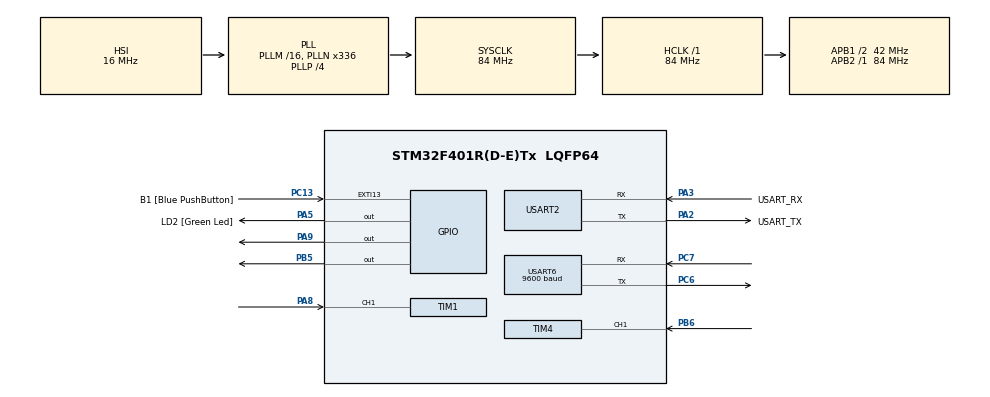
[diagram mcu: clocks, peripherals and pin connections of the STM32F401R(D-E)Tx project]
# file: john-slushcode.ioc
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Dma.Request0=USART6_RX
Dma.USART6_RX.0.Direction=DMA_PERIPH_TO_MEMORY
Dma.USART6_RX.0.FIFOMode=DMA_FIFOMODE_DISABLE
Dma.USART6_RX.0.Instance=DMA2_Stream1
Dma.USART6_RX.0.MemDataAlignment=DMA_MDATAALIGN_BYTE
Dma.USART6_RX.0.MemInc=DMA_MINC_ENABLE
Dma.USART6_RX.0.Mode=DMA_CIRCULAR
Dma.USART6_RX.0.PeriphDataAlignment=DMA_PDATAALIGN_BYTE
Dma.USART6_RX.0.PeriphInc=DMA_PINC_DISABLE
Dma.USART6_RX.0.Priority=DMA_PRIORITY_LOW
Mcu.Family=STM32F4
Mcu.Name=STM32F401R(D-E)Tx
Mcu.Package=LQFP64
NVIC.DMA2_Stream1_IRQn=true\:0\:0\:false\:false\:true\:false\:true\:true
NVIC.PriorityGroup=NVIC_PRIORITYGROUP_4
NVIC.TIM1_BRK_TIM9_IRQn=true\:0\:0\:false\:false\:true\:true\:true\:true
NVIC.TIM1_CC_IRQn=true\:0\:0\:false\:false\:true\:true\:true\:true
NVIC.TIM1_TRG_COM_TIM11_IRQn=true\:0\:0\:false\:false\:true\:true\:true\:true
NVIC.TIM1_UP_TIM10_IRQn=true\:0\:0\:false\:false\:true\:true\:true\:true
NVIC.TIM4_IRQn=true\:0\:0\:false\:false\:true\:true\:true\:true
NVIC.USART6_IRQn=true\:0\:0\:false\:false\:true\:true\:true\:true
PA13.GPIO_Label=TMS
PA13.Mode=Trace_Asynchronous_SW
PA13.Signal=SYS_JTMS-SWDIO
PA14.GPIO_Label=TCK
PA14.Mode=Trace_Asynchronous_SW
PA14.Signal=SYS_JTCK-SWCLK
PA2.GPIO_Label=USART_TX
PA2.GPIO_Mode=GPIO_MODE_AF_PP
PA2.GPIO_PuPd=GPIO_NOPULL
PA2.GPIO_Speed=GPIO_SPEED_FREQ_LOW
PA2.Mode=Asynchronous
PA2.Signal=USART2_TX
PA3.GPIO_Label=USART_RX
PA3.GPIO_Mode=GPIO_MODE_AF_PP
PA3.GPIO_PuPd=GPIO_NOPULL
PA3.GPIO_Speed=GPIO_SPEED_FREQ_LOW
PA3.Mode=Asynchronous
PA3.Signal=USART2_RX
PA5.GPIO_Label=LD2 [Green Led]
PA5.GPIO_Mode=GPIO_MODE_OUTPUT_PP
PA5.GPIO_PuPd=GPIO_NOPULL
PA5.GPIO_Speed=GPIO_SPEED_FREQ_LOW
PA5.Signal=GPIO_Output
PA8.Signal=S_TIM1_CH1
PA9.Signal=GPIO_Output
PB3.GPIO_Label=SWO
PB3.Mode=Trace_Asynchronous_SW
PB3.Signal=SYS_JTDO-SWO
PB5.Signal=GPIO_Output
PB6.Signal=S_TIM4_CH1
PC13-ANTI_TAMP.GPIO_Label=B1 [Blue PushButton]
PC13-ANTI_TAMP.GPIO_ModeDefaultEXTI=GPIO_MODE_IT_FALLING
PC13-ANTI_TAMP.GPIO_PuPd=GPIO_NOPULL
PC13-ANTI_TAMP.Signal=GPXTI13
PC14-OSC32_IN.Mode=LSE-External-Oscillator
PC14-OSC32_IN.Signal=RCC_OSC32_IN
PC15-OSC32_OUT.Mode=LSE-External-Oscillator
PC15-OSC32_OUT.Signal=RCC_OSC32_OUT
PC6.Mode=Asynchronous
PC6.Signal=USART6_TX
PC7.Mode=Asynchronous
PC7.Signal=USART6_RX
PH0\ -\ OSC_IN.Mode=HSE-External-Clock-Source
PH0\ -\ OSC_IN.Signal=RCC_OSC_IN
PH1\ -\ OSC_OUT.Mode=HSE-External-Clock-Source
PH1\ -\ OSC_OUT.Signal=RCC_OSC_OUT
ProjectManager.HeapSize=0x200
ProjectManager.StackSize=0x400
ProjectManager.TargetToolchain=STM32CubeIDE
RCC.48MHZClocksFreq_Value=48000000
RCC.AHBFreq_Value=84000000
RCC.APB1CLKDivider=RCC_HCLK_DIV2
RCC.APB1Freq_Value=42000000
RCC.APB1TimFreq_Value=84000000
RCC.APB2Freq_Value=84000000
RCC.APB2TimFreq_Value=84000000
RCC.CortexFreq_Value=84000000
RCC.HCLKFreq_Value=84000000
RCC.HSE_VALUE=8000000
RCC.HSI_VALUE=16000000
RCC.PLLN=336
RCC.PLLP=RCC_PLLP_DIV4
RCC.PLLQ=7
RCC.SYSCLKFreq_VALUE=84000000
RCC.SYSCLKSource=RCC_SYSCLKSOURCE_PLLCLK
RCC.VCOOutputFreq_Value=336000000
SH.S_TIM1_CH1.0=TIM1_CH1,Input_Capture1_from_TI1
SH.S_TIM4_CH1.0=TIM4_CH1,Input_Capture1_from_TI1
TIM1.Channel-Input_Capture1_from_TI1=TIM_CHANNEL_1
TIM1.Prescaler=72
TIM4.Channel-Input_Capture1_from_TI1=TIM_CHANNEL_1
TIM4.Prescaler=72
USART2.VirtualMode=VM_ASYNC
USART6.BaudRate=9600
USART6.VirtualMode=VM_ASYNC
VP_RTC_VS_RTC_Activate.Mode=RTC_Enabled
VP_TIM1_VS_ClockSourceINT.Mode=Internal
VP_TIM4_VS_ClockSourceINT.Mode=Internal
board=NUCLEO-F401RE

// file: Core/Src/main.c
/* USER CODE BEGIN Header */
/**
  ******************************************************************************
  * @file           : main.c
  * @brief          : Main program body
  ******************************************************************************
  * @attention
  *
  * Copyright (c) 2025 STMicroelectronics.
  * All rights reserved.
  *
  * This software is licensed under terms that can be found in the LICENSE file
  * in the root directory of this software component.
  * If no LICENSE file comes with this software, it is provided AS-IS.
  *
  ******************************************************************************
  */
/* USER CODE END Header */
#include "main.h"

/* USER CODE BEGIN Includes */
#include "sr04.h"
#include "m8q.h"
#include <stdio.h>
#include <stdarg.h>
#include <string.h>
#include <stdlib.h>
#include <math.h>
/* USER CODE END Includes */

/* USER CODE BEGIN PTD */
typedef enum {
    GPS_STATUS_INIT,
    GPS_STATUS_OK,
    GPS_STATUS_ERROR,
    GPS_STATUS_NO_FIX
} GPS_Status;
/* USER CODE END PTD */

RTC_HandleTypeDef hrtc;

TIM_HandleTypeDef htim1;
TIM_HandleTypeDef htim4;

UART_HandleTypeDef huart2;
UART_HandleTypeDef huart6;
DMA_HandleTypeDef hdma_usart6_rx;

/* USER CODE BEGIN PV */
sr04_t sr04;
sr04_t sr04_tim4;
GPS_Data gps_data;

// DMA buffer for UART reception
#define UART_RX_BUFFER_SIZE 512
uint8_t uartRxBuffer[UART_RX_BUFFER_SIZE];
volatile uint16_t rxHead = 0;
volatile uint16_t searchPos = 0;
/* USER CODE END PV */

void SystemClock_Config(void);
static void MX_GPIO_Init(void);
static void MX_DMA_Init(void);
static void MX_USART2_UART_Init(void);
static void MX_RTC_Init(void);
static void MX_TIM1_Init(void);
static void MX_TIM4_Init(void);
static void MX_USART6_UART_Init(void);

/* USER CODE BEGIN 0 */
void printToConsole(const char *format, ...) {
    char buffer[256];
    va_list args;
    va_start(args, format);
    vsnprintf(buffer, sizeof(buffer), format, args);
    va_end(args);

    HAL_UART_Transmit(&huart2, (uint8_t *)buffer, strlen(buffer), HAL_MAX_DELAY);
}

void decodeNMEASentence(const char *sentence) {
    char buffer[128];
    strncpy(buffer, sentence, sizeof(buffer));
    buffer[sizeof(buffer)-1] = '\0';

    char *token = strtok(buffer, ",");
    int fieldIndex = 0;

    while (token != NULL) {
        printToConsole("Field %d: %s\r\n", fieldIndex, token);
        token = strtok(NULL, ",");
        fieldIndex++;
    }
}

bool readUntilNewline(char *buffer, size_t maxSize) {
    uint32_t startTick = HAL_GetTick();
    uint32_t idx = 0;
    char ch;
    bool startFound = false;

    // Clear buffer first
    memset(buffer, 0, maxSize);

    while (idx < (maxSize - 1)) {
        // Check for timeout - 2 seconds should be enough for one complete sentence
        if ((HAL_GetTick() - startTick) > 2000) {
            if (idx > 0) {
                printToConsole("Timeout waiting for complete sentence after %d chars\r\n", idx);
            }
            break;
        }

        HAL_StatusTypeDef status = HAL_UART_Receive(&huart6, (uint8_t*)&ch, 1, 100);

        if (status == HAL_OK) {
            // Debug - uncomment if needed
            // printToConsole("%c", ch);

            // If we find the start character ($), reset buffer and start collecting
            if (ch == '$') {
                startFound = true;
                idx = 0;
                buffer[idx++] = ch;
                continue;
            }

            // Only add characters if we've found the start
            if (startFound) {
                buffer[idx++] = ch;

                // Check for complete NMEA sentence: CR+LF ending
                if (idx >= 2 && ch == '\n' && buffer[idx-2] == '\r') {
                    buffer[idx] = '\0';
                    return true;
                }

                // Alternative check: we found a complete sentence with checksum
                // Some devices might not properly terminate with CR+LF
                if (idx >= 5 && buffer[idx-3] == '*') {  // Found checksum marker
                    // Allow 2 more chars for the checksum itself
                    if (idx >= (uint32_t)(buffer[idx-3] + 3)) {
                        // Check if next char is CR or LF - if so, we're done
                        status = HAL_UART_Receive(&huart6, (uint8_t*)&ch, 1, 10);
                        if (status == HAL_OK) {
                            if (ch == '\r' || ch == '\n') {
                                buffer[idx++] = ch;
                                // Get the matching LF if we found CR
                                if (ch == '\r') {
                                    status = HAL_UART_Receive(&huart6, (uint8_t*)&ch, 1, 10);
                                    if (status == HAL_OK && ch == '\n') {
                                        buffer[idx++] = ch;
                                    }
                                }
                                buffer[idx] = '\0';
                                return true;
                            } else {
                                // Not CR/LF, add to buffer and continue
                                buffer[idx++] = ch;
                            }
                        } else {
                            // No more data but we have a complete sentence with checksum
                            buffer[idx] = '\0';
                            return true;
                        }
                    }
                }
            }
        } else if (status == HAL_TIMEOUT && startFound && idx > 5) {
            // We've started a sentence and got something meaningful
            buffer[idx] = '\0';
            return true;
        }
    }

    // If we've collected a valid-looking sentence but hit the buffer limit
    if (startFound && idx > 0) {
        buffer[idx] = '\0';
        return true;
    }

    buffer[0] = '\0';
    return false;
}

GPS_Status parseGPSTXT(const char* message) {
    if (strstr(message, "ANTSTATUS=INIT")) {
        return GPS_STATUS_INIT;
    } else if (strstr(message, "ANTSTATUS=OK")) {
        return GPS_STATUS_OK;
    } else if (strstr(message, "ANTSTATUS=SHORT") ||
               strstr(message, "ANTSTATUS=OPEN")) {
        return GPS_STATUS_ERROR;
    }
    return GPS_STATUS_NO_FIX;
}

bool printCurrentGpsOutput(void) {
    char buffer[256];
    static GPS_Status lastStatus = GPS_STATUS_INIT;
    static uint32_t noFixCount = 0;
    static uint32_t lastDebugPrint = 0;
    const uint32_t DEBUG_PRINT_INTERVAL = 1000; // Print debug every 1 second

    memset(buffer, 0, sizeof(buffer));
    memset(&gps_data, 0, sizeof(GPS_Data));

    if (readUntilNewline(buffer, sizeof(buffer))) {
        // Debug message with timestamp
        uint32_t currentTick = HAL_GetTick();
        if (currentTick - lastDebugPrint >= DEBUG_PRINT_INTERVAL) {
            printToConsole("\r\n=== GPS Debug [%lu ms] ===\r\n", currentTick);
            lastDebugPrint = currentTick;
        }

        // Validate NMEA message format
        if (buffer[0] != '$') {
            printToConsole("ERROR: Invalid NMEA format\r\n");
            return false;
        }

        // Test buffer
        // const char* buffer = "$GNRMC,201850.00,A,4025.69979,N,08654.69118,W,0.256,,240225,08654.69118,W,0.256,,240225,,,A*73";

        // Parse message type
        if (strstr(buffer, "$GNRMC")) {
            printToConsole("Message Type: RMC (Position/Speed/Time)\r\n");

            if (M8Q_ParseGNRMC(buffer, &gps_data)) {
                if (!gps_data.fix_valid) {
                    noFixCount++;
                    printToConsole("Status: NO FIX (Waiting: %lu sec)\r\n", noFixCount);
                    printToConsole("Time: %02d:%02d:%02d UTC\r\n",
                        gps_data.hours,
                        gps_data.minutes,
                        gps_data.seconds);
                    printToConsole("Troubleshooting:\r\n");
                    printToConsole("- Ensure clear view of sky\r\n");
                    printToConsole("- Wait for satellite acquisition (can take 1-5 min)\r\n");
                    printToConsole("- Check antenna connection\r\n");
                } else {
                    noFixCount = 0;
                    printToConsole("\r\n=== GPS Location Update ===\r\n");
                    printToConsole("Time: %02d:%02d:%02d UTC\r\n",
                        gps_data.hours,
                        gps_data.minutes,
                        gps_data.seconds);

                    printToConsole("Date: %02d/%02d/%04d\r\n",
                        gps_data.day,
                        gps_data.month,
                        gps_data.year);

                    // Convert coordinates to degrees and decimal minutes format
                    int lat_deg = (int)gps_data.latitude;
                    double lat_min = (gps_data.latitude - lat_deg) * 60;
                    int lon_deg = (int)gps_data.longitude;
                    double lon_min = (gps_data.longitude - lon_deg) * 60;

                    printToConsole("Position:\r\n");
                    printToConsole("  %d°%.4f' %c\r\n",
                        abs(lat_deg), fabs(lat_min), gps_data.lat_direction);
                    printToConsole("  %d°%.4f' %c\r\n",
                        abs(lon_deg), fabs(lon_min), gps_data.lon_direction);

                    if (gps_data.speed_knots > 0.5) { // Only show speed if moving
                        printToConsole("Speed: %.1f km/h\r\n",
                            gps_data.speed_knots * 1.852); // Convert knots to km/h
                        printToConsole("Heading: %.1f°\r\n",
                            gps_data.course);
                    }

                    printToConsole("=========================\r\n");
                }
            } else {
                printToConsole("ERROR: Failed to parse RMC message\r\n");
                printToConsole("Raw: %s\r\n", buffer);
            }
            return true;
        }
        else if (strstr(buffer, "$GNGGA")) {
            printToConsole("Message Type: GGA (GPS Fix Data)\r\n");

            // Parse GGA message fields
            char *saveptr;
            char *token = strtok_r(buffer, ",", &saveptr);
            int field = 0;

            while (token != NULL) {
                switch(field) {
                    case 6: // Fix quality
                        printToConsole("Fix Quality: ");
                        switch(atoi(token)) {
                            case 0: printToConsole("Invalid\r\n"); break;
                            case 1: printToConsole("GPS Fix\r\n"); break;
                            case 2: printToConsole("DGPS Fix\r\n"); break;
                            default: printToConsole("Unknown (%s)\r\n", token); break;
                        }
                        break;
                    case 7: // Satellites in use
                        printToConsole("Satellites: %s in use\r\n", token);
                        break;
                    case 8: // HDOP
                        {
                            float hdop = atof(token);
                            printToConsole("HDOP: %.1f ", hdop);
                            if (hdop < 1.0) printToConsole("(Excellent)\r\n");
                            else if (hdop < 2.0) printToConsole("(Good)\r\n");
                            else if (hdop < 5.0) printToConsole("(Moderate)\r\n");
                            else printToConsole("(Poor)\r\n");
                        }
                        break;
                }
                field++;
                token = strtok_r(NULL, ",", &saveptr);
            }
            return true;
        }
        else if (strstr(buffer, "$GNTXT")) {
            GPS_Status status = parseGPSTXT(buffer);
            if (status != lastStatus) {
                switch(status) {
                    case GPS_STATUS_INIT:
                        printToConsole("GPS Status: Initializing antenna\r\n");
                        break;
                    case GPS_STATUS_OK:
                        printToConsole("GPS Status: Antenna OK, waiting for fix\r\n");
                        break;
                    case GPS_STATUS_ERROR:
                        printToConsole("GPS Status: Antenna error detected!\r\n");
                        break;
                    default:
                        break;
                }
                lastStatus = status;
            }
            printToConsole("GPS Info Message: %s", buffer);
            return true;
        }
        else {
            printToConsole("Message Type: Other (%.*s)\r\n", 5, buffer);
            return true;
        }
    } else {
        printToConsole("ERROR: Failed to read NMEA sentence\r\n");
        return false;
    }
}

// void sendUBXCommand(const char* cmd, size_t len) {
//     HAL_UART_Transmit(&huart6, (uint8_t*)cmd, len, 1000);
//     HAL_Delay(100); // Wait for command to process
// }

// void initGPS(void) {
//   return;
//     printToConsole("Initializing GPS...\r\n");

//     // First, flush any pending data
//     HAL_Delay(100);
//     uint8_t dummy;
//     int flushed = 0;
//     while (HAL_UART_Receive(&huart6, &dummy, 1, 1) == HAL_OK) {
//         flushed++;
//     }
//     printToConsole("Flushed %d bytes\r\n", flushed);

//     // Reset to factory defaults
//     const char reset[] = "$PUBX,41,1,0007,0003,9600,0*10\r\n";
//     sendUBXCommand(reset, strlen(reset));
//     HAL_Delay(1000);

//     // Try to read any response
//     char buffer[128];
//     if (readUntilNewline(buffer, sizeof(buffer))) {
//         printToConsole("Reset response: %s\r\n", buffer);
//     } else {
//         printToConsole("No response to reset command\r\n");
//     }

//     // Disable all NMEA messages first
//     const char disableAll[] = "$PUBX,40,GLL,0,0,0,0,0,0*5C\r\n"
//                              "$PUBX,40,GSA,0,0,0,0,0,0*4E\r\n"
//                              "$PUBX,40,GSV,0,0,0,0,0,0*59\r\n"
//                              "$PUBX,40,VTG,0,0,0,0,0,0*5E\r\n";
//     sendUBXCommand(disableAll, strlen(disableAll));
//     HAL_Delay(500);

//     // Enable only the messages we want
//     const char enableRMC[] = "$PUBX,40,RMC,0,1,0,0,0,0*46\r\n";
//     sendUBXCommand(enableRMC, strlen(enableRMC));
//     HAL_Delay(100);

//     const char enableGGA[] = "$PUBX,40,GGA,0,1,0,0,0,0*5B\r\n";
//     sendUBXCommand(enableGGA, strlen(enableGGA));
//     HAL_Delay(100);

//     // Enable GSV messages to see satellite info
//     const char enableGSV[] = "$PUBX,40,GSV,0,1,0,0,0,0*59\r\n";
//     sendUBXCommand(enableGSV, strlen(enableGSV));
//     HAL_Delay(100);

//     // Configure update rate to 1Hz for stability
//     const char setRate[] = "$PUBX,40,ZDA,0,1,0,0,0,0*44\r\n";
//     sendUBXCommand(setRate, strlen(setRate));
//     HAL_Delay(100);

//     printToConsole("GPS Initialization complete\r\n");
//     HAL_Delay(1000);  // Give it time to start sending data
// }

// Function to extract NMEA sentences from DMA buffer
bool getNMEASentence(char *buffer, size_t maxSize) {
    uint16_t startPos = UINT16_MAX;
    uint16_t endPos = UINT16_MAX;
    uint16_t currentHead = rxHead; // Capture current position
    uint16_t pos = searchPos;
    uint16_t searchEndPos = (currentHead >= searchPos) ? currentHead : (currentHead + UART_RX_BUFFER_SIZE);

    // Search for complete NMEA sentence
    while (pos < searchEndPos) {
        uint16_t bufferPos = pos % UART_RX_BUFFER_SIZE;

        // Look for sentence start
        if (uartRxBuffer[bufferPos] == '$' && startPos == UINT16_MAX) {
            startPos = bufferPos;
        }
        // Look for sentence end (CR+LF or just LF)
        else if (startPos != UINT16_MAX && uartRxBuffer[bufferPos] == '\n') {
            endPos = bufferPos;
            break;
        }
        pos++;
    }

    // If complete sentence found
    if (startPos != UINT16_MAX && endPos != UINT16_MAX) {
        uint16_t length = 0;
        pos = startPos;

        // Calculate sentence length accounting for buffer wrap
        uint16_t sentenceLength = (endPos >= startPos) ?
            (endPos - startPos + 1) :
            (UART_RX_BUFFER_SIZE - startPos + endPos + 1);

        // Check if sentence fits in output buffer
        if (sentenceLength >= maxSize) {
            searchPos = (endPos + 1) % UART_RX_BUFFER_SIZE;
            return false;
        }

        // Copy sentence to output buffer
        while (length < sentenceLength && length < maxSize - 1) {
            buffer[length++] = uartRxBuffer[pos];
            pos = (pos + 1) % UART_RX_BUFFER_SIZE;
        }

        buffer[length] = '\0';
        searchPos = (endPos + 1) % UART_RX_BUFFER_SIZE;

        // Validate basic NMEA format
        if (length > 6 && buffer[0] == '$' &&
            (buffer[length-2] == '\r' || buffer[length-1] == '\n')) {
            return true;
        }
    }

    // If we've searched the entire new data without finding a sentence,
    // move search position to avoid re-searching
    if (pos >= searchEndPos) {
        searchPos = currentHead;
    }

    return false;
}

// UART reception complete callback
void HAL_UARTEx_RxEventCallback(UART_HandleTypeDef *huart, uint16_t Size) {
    if (huart->Instance == USART6) {
        rxHead = (rxHead + Size) % UART_RX_BUFFER_SIZE;

        // Restart DMA reception
        HAL_UARTEx_ReceiveToIdle_DMA(&huart6, uartRxBuffer, UART_RX_BUFFER_SIZE);
        __HAL_DMA_DISABLE_IT(huart6.hdmarx, DMA_IT_HT); // Disable Half Transfer interrupt
    }
}

/* USER CODE END 0 */

int main(void)
{

  /* MCU Configuration--------------------------------------------------------*/

  /* Reset of all peripherals, Initializes the Flash interface and the Systick. */
  HAL_Init();

  /* Configure the system clock */
  SystemClock_Config();

  /* Initialize all configured peripherals */
  MX_GPIO_Init();
  MX_DMA_Init();
  MX_USART2_UART_Init();
  MX_RTC_Init();
  MX_TIM1_Init();
  MX_TIM4_Init();
  MX_USART6_UART_Init();
  /* USER CODE BEGIN 2 */

  // Initialize GPS
  //initGPS();

  // Initialize DMA for UART6 reception
  HAL_UARTEx_ReceiveToIdle_DMA(&huart6, uartRxBuffer, UART_RX_BUFFER_SIZE);
  __HAL_DMA_DISABLE_IT(huart6.hdmarx, DMA_IT_HT); // Disable Half Transfer interrupt

  /* USER CODE END 2 */

  /* Infinite loop */
  while (1)
  {

    /* USER CODE BEGIN 3 */
    // Process GPS NMEA sentences from DMA buffer
    char nmeaBuffer[256];
    if (getNMEASentence(nmeaBuffer, sizeof(nmeaBuffer))) {
        // Debug raw NMEA sentence
        printToConsole("\r\n--- Raw NMEA Sentence ---\r\n");
        printToConsole("Length: %d bytes\r\n", strlen(nmeaBuffer));
        printToConsole("Content: %s", nmeaBuffer);

        if (strstr(nmeaBuffer, "$GNRMC")) {
            printToConsole("\r\n=== GNRMC Message Detected ===\r\n");

            // Debug each field before parsing
            char *saveptr;
            char *token = strtok_r(nmeaBuffer, ",", &saveptr);
            int fieldIndex = 0;

            while (token != NULL) {
                switch(fieldIndex) {
                    case 0: printToConsole("Message ID: %s\r\n", token); break;
                    case 1: printToConsole("UTC Time: %s\r\n", token); break;
                    case 2: printToConsole("Status: %s (%s)\r\n", token,
                            (token[0] == 'A') ? "Active" : "Void"); break;
                    case 3: printToConsole("Latitude: %s\r\n", token); break;
                    case 4: printToConsole("N/S Indicator: %s\r\n", token); break;
                    case 5: printToConsole("Longitude: %s\r\n", token); break;
                    case 6: printToConsole("E/W Indicator: %s\r\n", token); break;
                    case 7: printToConsole("Speed (knots): %s\r\n", token); break;
                    case 8: printToConsole("Course: %s\r\n", token); break;
                    case 9: printToConsole("Date: %s\r\n", token); break;
                    default: printToConsole("Field %d: %s\r\n", fieldIndex, token);
                }
                token = strtok_r(NULL, ",", &saveptr);
                fieldIndex++;
            }

            printToConsole("Total fields: %d (expecting 12-13)\r\n", fieldIndex);

            // Try to parse with M8Q_ParseGNRMC
            if (M8Q_ParseGNRMC(nmeaBuffer, &gps_data)) {
                printToConsole("\r\nParsing Successful!\r\n");
                printToConsole("Time: %02d:%02d:%02d UTC\r\n",
                    gps_data.hours, gps_data.minutes, gps_data.seconds);
                printToConsole("Fix Valid: %s\r\n",
                    gps_data.fix_valid ? "Yes" : "No");
                printToConsole("Position: %.6f%c, %.6f%c\r\n",
                    gps_data.latitude, gps_data.lat_direction,
                    gps_data.longitude, gps_data.lon_direction);
                if (gps_data.speed_knots > 0) {
                    printToConsole("Speed: %.2f knots\r\n", gps_data.speed_knots);
                    printToConsole("Course: %.2f degrees\r\n", gps_data.course);
                }
            } else {
                printToConsole("\r\nParsing Failed!\r\n");
                printToConsole("Checksum validation: %s\r\n",
                    (strchr(nmeaBuffer, '*') != NULL) ? "Present" : "Missing");
            }
            printToConsole("=========================\r\n");
        }
        else if (strstr(nmeaBuffer, "$GNGGA")) {
            printToConsole("Message Type: GGA (GPS Fix Data)\r\n");

            // Parse GGA message fields
            char *saveptr;
            char *token = strtok_r(nmeaBuffer, ",", &saveptr);
            int field = 0;

            while (token != NULL) {
                switch(field) {
                    case 6: // Fix quality
                        printToConsole("Fix Quality: ");
                        switch(atoi(token)) {
                            case 0: printToConsole("Invalid\r\n"); break;
                            case 1: printToConsole("GPS Fix\r\n"); break;
                            case 2: printToConsole("DGPS Fix\r\n"); break;
                            default: printToConsole("Unknown (%s)\r\n", token); break;
                        }
                        break;
                    case 7: // Satellites in use
                        printToConsole("Satellites: %s in use\r\n", token);
                        break;
                    case 8: // HDOP
                        {
                            float hdop = atof(token);
                            printToConsole("HDOP: %.1f ", hdop);
                            if (hdop < 1.0) printToConsole("(Excellent)\r\n");
                            else if (hdop < 2.0) printToConsole("(Good)\r\n");
                            else if (hdop < 5.0) printToConsole("(Moderate)\r\n");
                            else printToConsole("(Poor)\r\n");
                        }
                        break;
                }
                field++;
                token = strtok_r(NULL, ",", &saveptr);
            }
        }
        else if (strstr(nmeaBuffer, "$GNTXT")) {
            GPS_Status status = parseGPSTXT(nmeaBuffer);
            if (status != GPS_STATUS_NO_FIX) {
                switch(status) {
                    case GPS_STATUS_INIT:
                        printToConsole("GPS Status: Initializing antenna\r\n");
                        break;
                    case GPS_STATUS_OK:
                        printToConsole("GPS Status: Antenna OK, waiting for fix\r\n");
                        break;
                    case GPS_STATUS_ERROR:
                        printToConsole("GPS Status: Antenna error detected!\r\n");
                        break;
                }
            }
            printToConsole("GPS Info Message: %s", nmeaBuffer);
        }
        else {
            printToConsole("Other Message Type: %.5s\r\n", nmeaBuffer);
        }
    }

    // Optional: Add a small delay to prevent console flooding
    HAL_Delay(10);
  }
  /* USER CODE END 3 */
}

void SystemClock_Config(void)
{
  RCC_OscInitTypeDef RCC_OscInitStruct = {0};
  RCC_ClkInitTypeDef RCC_ClkInitStruct = {0};

  /** Configure the main internal regulator output voltage
  */
  __HAL_RCC_PWR_CLK_ENABLE();
  __HAL_PWR_VOLTAGESCALING_CONFIG(PWR_REGULATOR_VOLTAGE_SCALE2);

  /** Initializes the RCC Oscillators according to the specified parameters
  * in the RCC_OscInitTypeDef structure.
  */
  RCC_OscInitStruct.OscillatorType = RCC_OSCILLATORTYPE_HSI|RCC_OSCILLATORTYPE_LSI;
  RCC_OscInitStruct.HSIState = RCC_HSI_ON;
  RCC_OscInitStruct.HSICalibrationValue = RCC_HSICALIBRATION_DEFAULT;
  RCC_OscInitStruct.LSIState = RCC_LSI_ON;
  RCC_OscInitStruct.PLL.PLLState = RCC_PLL_ON;
  RCC_OscInitStruct.PLL.PLLSource = RCC_PLLSOURCE_HSI;
  RCC_OscInitStruct.PLL.PLLM = 16;
  RCC_OscInitStruct.PLL.PLLN = 336;
  RCC_OscInitStruct.PLL.PLLP = RCC_PLLP_DIV4;
  RCC_OscInitStruct.PLL.PLLQ = 7;
  if (HAL_RCC_OscConfig(&RCC_OscInitStruct) != HAL_OK)
  {
    Error_Handler();
  }

  /** Initializes the CPU, AHB and APB buses clocks
  */
  RCC_ClkInitStruct.ClockType = RCC_CLOCKTYPE_HCLK|RCC_CLOCKTYPE_SYSCLK
                              |RCC_CLOCKTYPE_PCLK1|RCC_CLOCKTYPE_PCLK2;
  RCC_ClkInitStruct.SYSCLKSource = RCC_SYSCLKSOURCE_PLLCLK;
  RCC_ClkInitStruct.AHBCLKDivider = RCC_SYSCLK_DIV1;
  RCC_ClkInitStruct.APB1CLKDivider = RCC_HCLK_DIV2;
  RCC_ClkInitStruct.APB2CLKDivider = RCC_HCLK_DIV1;

  if (HAL_RCC_ClockConfig(&RCC_ClkInitStruct, FLASH_LATENCY_2) != HAL_OK)
  {
    Error_Handler();
  }
}

static void MX_RTC_Init(void)
{

  /** Initialize RTC Only
  */
  hrtc.Instance = RTC;
  hrtc.Init.HourFormat = RTC_HOURFORMAT_24;
  hrtc.Init.AsynchPrediv = 127;
  hrtc.Init.SynchPrediv = 255;
  hrtc.Init.OutPut = RTC_OUTPUT_DISABLE;
  hrtc.Init.OutPutPolarity = RTC_OUTPUT_POLARITY_HIGH;
  hrtc.Init.OutPutType = RTC_OUTPUT_TYPE_OPENDRAIN;
  if (HAL_RTC_Init(&hrtc) != HAL_OK)
  {
    Error_Handler();
  }

}

static void MX_TIM1_Init(void)
{

  TIM_ClockConfigTypeDef sClockSourceConfig = {0};
  TIM_MasterConfigTypeDef sMasterConfig = {0};
  TIM_IC_InitTypeDef sConfigIC = {0};

  htim1.Instance = TIM1;
  htim1.Init.Prescaler = 72;
  htim1.Init.CounterMode = TIM_COUNTERMODE_UP;
  htim1.Init.Period = 65535;
  htim1.Init.ClockDivision = TIM_CLOCKDIVISION_DIV1;
  htim1.Init.RepetitionCounter = 0;
  htim1.Init.AutoReloadPreload = TIM_AUTORELOAD_PRELOAD_DISABLE;
  if (HAL_TIM_Base_Init(&htim1) != HAL_OK)
  {
    Error_Handler();
  }
  sClockSourceConfig.ClockSource = TIM_CLOCKSOURCE_INTERNAL;
  if (HAL_TIM_ConfigClockSource(&htim1, &sClockSourceConfig) != HAL_OK)
  {
    Error_Handler();
  }
  if (HAL_TIM_IC_Init(&htim1) != HAL_OK)
  {
    Error_Handler();
  }
  sMasterConfig.MasterOutputTrigger = TIM_TRGO_RESET;
  sMasterConfig.MasterSlaveMode = TIM_MASTERSLAVEMODE_DISABLE;
  if (HAL_TIMEx_MasterConfigSynchronization(&htim1, &sMasterConfig) != HAL_OK)
  {
    Error_Handler();
  }
  sConfigIC.ICPolarity = TIM_INPUTCHANNELPOLARITY_RISING;
  sConfigIC.ICSelection = TIM_ICSELECTION_DIRECTTI;
  sConfigIC.ICPrescaler = TIM_ICPSC_DIV1;
  sConfigIC.ICFilter = 0;
  if (HAL_TIM_IC_ConfigChannel(&htim1, &sConfigIC, TIM_CHANNEL_1) != HAL_OK)
  {
    Error_Handler();
  }

}

static void MX_TIM4_Init(void)
{

  TIM_ClockConfigTypeDef sClockSourceConfig = {0};
  TIM_MasterConfigTypeDef sMasterConfig = {0};
  TIM_IC_InitTypeDef sConfigIC = {0};

  htim4.Instance = TIM4;
  htim4.Init.Prescaler = 72;
  htim4.Init.CounterMode = TIM_COUNTERMODE_UP;
  htim4.Init.Period = 65535;
  htim4.Init.ClockDivision = TIM_CLOCKDIVISION_DIV1;
  htim4.Init.AutoReloadPreload = TIM_AUTORELOAD_PRELOAD_DISABLE;
  if (HAL_TIM_Base_Init(&htim4) != HAL_OK)
  {
    Error_Handler();
  }
  sClockSourceConfig.ClockSource = TIM_CLOCKSOURCE_INTERNAL;
  if (HAL_TIM_ConfigClockSource(&htim4, &sClockSourceConfig) != HAL_OK)
  {
    Error_Handler();
  }
  if (HAL_TIM_IC_Init(&htim4) != HAL_OK)
  {
    Error_Handler();
  }
  sMasterConfig.MasterOutputTrigger = TIM_TRGO_RESET;
  sMasterConfig.MasterSlaveMode = TIM_MASTERSLAVEMODE_DISABLE;
  if (HAL_TIMEx_MasterConfigSynchronization(&htim4, &sMasterConfig) != HAL_OK)
  {
    Error_Handler();
  }
  sConfigIC.ICPolarity = TIM_INPUTCHANNELPOLARITY_RISING;
  sConfigIC.ICSelection = TIM_ICSELECTION_DIRECTTI;
  sConfigIC.ICPrescaler = TIM_ICPSC_DIV1;
  sConfigIC.ICFilter = 0;
  if (HAL_TIM_IC_ConfigChannel(&htim4, &sConfigIC, TIM_CHANNEL_1) != HAL_OK)
  {
    Error_Handler();
  }

}

static void MX_USART2_UART_Init(void)
{

  huart2.Instance = USART2;
  huart2.Init.BaudRate = 115200;
  huart2.Init.WordLength = UART_WORDLENGTH_8B;
  huart2.Init.StopBits = UART_STOPBITS_1;
  huart2.Init.Parity = UART_PARITY_NONE;
  huart2.Init.Mode = UART_MODE_TX_RX;
  huart2.Init.HwFlowCtl = UART_HWCONTROL_NONE;
  huart2.Init.OverSampling = UART_OVERSAMPLING_16;
  if (HAL_UART_Init(&huart2) != HAL_OK)
  {
    Error_Handler();
  }

}

static void MX_USART6_UART_Init(void)
{

  huart6.Instance = USART6;
  huart6.Init.BaudRate = 9600;
  huart6.Init.WordLength = UART_WORDLENGTH_8B;
  huart6.Init.StopBits = UART_STOPBITS_1;
  huart6.Init.Parity = UART_PARITY_NONE;
  huart6.Init.Mode = UART_MODE_TX_RX;
  huart6.Init.HwFlowCtl = UART_HWCONTROL_NONE;
  huart6.Init.OverSampling = UART_OVERSAMPLING_16;
  if (HAL_UART_Init(&huart6) != HAL_OK)
  {
    Error_Handler();
  }

}

static void MX_DMA_Init(void)
{

  /* DMA controller clock enable */
  __HAL_RCC_DMA2_CLK_ENABLE();

  /* DMA interrupt init */
  /* DMA2_Stream1_IRQn interrupt configuration */
  HAL_NVIC_SetPriority(DMA2_Stream1_IRQn, 0, 0);
  HAL_NVIC_EnableIRQ(DMA2_Stream1_IRQn);

}

static void MX_GPIO_Init(void)
{
  GPIO_InitTypeDef GPIO_InitStruct = {0};

  /* GPIO Ports Clock Enable */
  __HAL_RCC_GPIOC_CLK_ENABLE();
  __HAL_RCC_GPIOH_CLK_ENABLE();
  __HAL_RCC_GPIOA_CLK_ENABLE();
  __HAL_RCC_GPIOB_CLK_ENABLE();

  /*Configure GPIO pin Output Level */
  HAL_GPIO_WritePin(GPIOA, LD2_Pin|GPIO_PIN_9, GPIO_PIN_RESET);

  /*Configure GPIO pin Output Level */
  HAL_GPIO_WritePin(GPIOB, GPIO_PIN_5, GPIO_PIN_RESET);

  /*Configure GPIO pin : B1_Pin */
  GPIO_InitStruct.Pin = B1_Pin;
  GPIO_InitStruct.Mode = GPIO_MODE_IT_FALLING;
  GPIO_InitStruct.Pull = GPIO_NOPULL;
  HAL_GPIO_Init(B1_GPIO_Port, &GPIO_InitStruct);

  /*Configure GPIO pins : LD2_Pin PA9 */
  GPIO_InitStruct.Pin = LD2_Pin|GPIO_PIN_9;
  GPIO_InitStruct.Mode = GPIO_MODE_OUTPUT_PP;
  GPIO_InitStruct.Pull = GPIO_NOPULL;
  GPIO_InitStruct.Speed = GPIO_SPEED_FREQ_LOW;
  HAL_GPIO_Init(GPIOA, &GPIO_InitStruct);

  /*Configure GPIO pin : PB5 */
  GPIO_InitStruct.Pin = GPIO_PIN_5;
  GPIO_InitStruct.Mode = GPIO_MODE_OUTPUT_PP;
  GPIO_InitStruct.Pull = GPIO_NOPULL;
  GPIO_InitStruct.Speed = GPIO_SPEED_FREQ_LOW;
  HAL_GPIO_Init(GPIOB, &GPIO_InitStruct);

}

void Error_Handler(void)
{
  __disable_irq();
  while (1)
  {
  }
}
